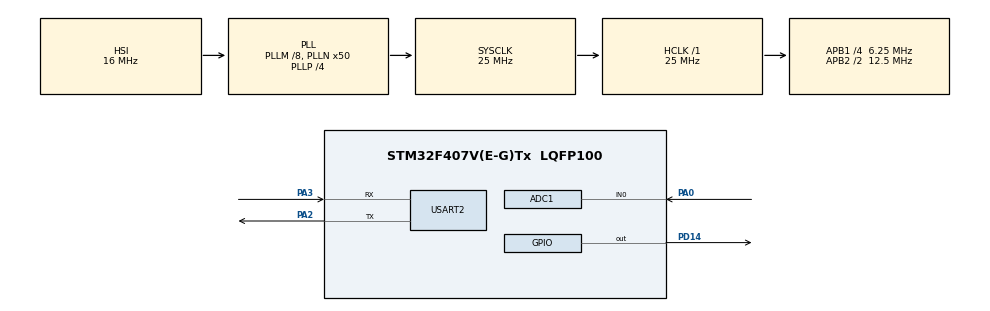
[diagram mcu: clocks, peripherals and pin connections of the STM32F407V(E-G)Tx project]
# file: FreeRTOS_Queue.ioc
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ADC1.Channel-0\#ChannelRegularConversion=ADC_CHANNEL_0
ADC1.NbrOfConversionFlag=1
ADC1.Rank-0\#ChannelRegularConversion=1
ADC1.SamplingTime-0\#ChannelRegularConversion=ADC_SAMPLETIME_3CYCLES
ADC1.master=1
FREERTOS.Tasks01=defaultTask,24,128,StartDefaultTask,Default,NULL,Dynamic,NULL,NULL
FREERTOS.configUSE_NEWLIB_REENTRANT=1
Mcu.Family=STM32F4
Mcu.Name=STM32F407V(E-G)Tx
Mcu.Package=LQFP100
NVIC.PriorityGroup=NVIC_PRIORITYGROUP_4
NVIC.TIM6_DAC_IRQn=true\:15\:0\:false\:false\:true\:false\:false\:true\:true
NVIC.TimeBase=TIM6_DAC_IRQn
NVIC.TimeBaseIP=TIM6
PA0-WKUP.Signal=ADCx_IN0
PA2.Mode=Asynchronous
PA2.Signal=USART2_TX
PA3.Mode=Asynchronous
PA3.Signal=USART2_RX
PD14.Signal=GPIO_Output
ProjectManager.HeapSize=0x200
ProjectManager.StackSize=0x400
ProjectManager.TargetToolchain=STM32CubeIDE
RCC.48MHZClocksFreq_Value=14285714.285714285
RCC.AHBFreq_Value=25000000
RCC.APB1CLKDivider=RCC_HCLK_DIV4
RCC.APB1Freq_Value=6250000
RCC.APB1TimFreq_Value=12500000
RCC.APB2CLKDivider=RCC_HCLK_DIV2
RCC.APB2Freq_Value=12500000
RCC.APB2TimFreq_Value=25000000
RCC.CortexFreq_Value=25000000
RCC.HCLKFreq_Value=25000000
RCC.HSE_VALUE=8000000
RCC.HSI_VALUE=16000000
RCC.LSE_VALUE=32768
RCC.PLLM=8
RCC.PLLN=50
RCC.PLLP=RCC_PLLP_DIV4
RCC.PLLQ=7
RCC.SYSCLKFreq_VALUE=25000000
RCC.SYSCLKSource=RCC_SYSCLKSOURCE_PLLCLK
RCC.VCOOutputFreq_Value=100000000
SH.ADCx_IN0.0=ADC1_IN0,IN0
USART2.VirtualMode=VM_ASYNC
VP_FREERTOS_VS_CMSIS_V2.Mode=CMSIS_V2
VP_SYS_VS_tim6.Mode=TIM6
board=STM32F407G-DISC1

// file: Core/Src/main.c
/* USER CODE BEGIN Header */
/**
  ******************************************************************************
  * @file           : main.c
  * @brief          : Main program body
  ******************************************************************************
  * @attention
  *
  * Copyright (c) 2026 STMicroelectronics.
  * All rights reserved.
  *
  * This software is licensed under terms that can be found in the LICENSE file
  * in the root directory of this software component.
  * If no LICENSE file comes with this software, it is provided AS-IS.
  *
  ******************************************************************************
  */
/* USER CODE END Header */
#include "main.h"
#include "cmsis_os.h"

/* USER CODE BEGIN Includes */
#include"queue.h"
#include<stdio.h>
#include<string.h>
/* USER CODE END Includes */

ADC_HandleTypeDef hadc1;

UART_HandleTypeDef huart2;

/* Definitions for defaultTask */
osThreadId_t defaultTaskHandle;
const osThreadAttr_t defaultTask_attributes = {
  .name = "defaultTask",
  .stack_size = 128 * 4,
  .priority = (osPriority_t) osPriorityNormal,
};
/* USER CODE BEGIN PV */

QueueHandle_t queHandle;

/* USER CODE END PV */

void SystemClock_Config(void);
static void MX_GPIO_Init(void);
static void MX_ADC1_Init(void);
static void MX_USART2_UART_Init(void);
void StartDefaultTask(void *argument);

/* USER CODE BEGIN 0 */

void vLEDBlinkgingTask(void *pvParam)
{
	TickType_t xLastWakeupTick =  xTaskGetTickCount();
	while(1)
	{
		HAL_GPIO_TogglePin(GPIOD, GPIO_PIN_14);
		vTaskDelayUntil(&xLastWakeupTick, 500 / portTICK_RATE_MS);
	}
	vTaskDelete(NULL);
}

void vADCReadingTask(void *pvParam)
{
	TickType_t xLastWakeupTick =  xTaskGetTickCount();
	while(1)
	{
		HAL_ADC_Start(&hadc1);
		HAL_ADC_PollForConversion(&hadc1, HAL_MAX_DELAY);
		uint32_t value =  HAL_ADC_GetValue(&hadc1);
		HAL_ADC_Stop(&hadc1);

		xQueueSend(queHandle, &value, portMAX_DELAY);

		vTaskDelayUntil(&xLastWakeupTick, 2000 / portTICK_RATE_MS);
	}
	vTaskDelete(NULL);
}

void vUARTSendingTask(void *pvParam)
{
	uint32_t value;
	char str[32];

	while(1)
	{
		xQueueReceive(queHandle, &value, portMAX_DELAY);

		sprintf(str, "ADC value = %lu\r\n", value);
		HAL_UART_Transmit(&huart2, (const uint8_t *)str, strlen((char *)str), HAL_MAX_DELAY);
	}
	vTaskDelete(NULL);
}

/* USER CODE END 0 */

int main(void)
{

  /* MCU Configuration--------------------------------------------------------*/

  /* Reset of all peripherals, Initializes the Flash interface and the Systick. */
  HAL_Init();

  /* Configure the system clock */
  SystemClock_Config();

  /* Initialize all configured peripherals */
  MX_GPIO_Init();
  MX_ADC1_Init();
  MX_USART2_UART_Init();

  /* Init scheduler */
  osKernelInitialize();

  /* USER CODE BEGIN RTOS_QUEUES */
  queHandle = xQueueCreate(5, sizeof(uint32_t));
  /* USER CODE END RTOS_QUEUES */

  /* Create the thread(s) */
  /* creation of defaultTask */
  defaultTaskHandle = osThreadNew(StartDefaultTask, NULL, &defaultTask_attributes);

  /* USER CODE BEGIN RTOS_THREADS */
  xTaskCreate(vLEDBlinkgingTask, "LED", configMINIMAL_STACK_SIZE, NULL, 2, NULL);
  xTaskCreate(vUARTSendingTask, "UART", configMINIMAL_STACK_SIZE, NULL, 3, NULL);
  xTaskCreate(vADCReadingTask, "ADC", configMINIMAL_STACK_SIZE, NULL, 4, NULL);
  /* USER CODE END RTOS_THREADS */

  /* Start scheduler */
  osKernelStart();

  /* We should never get here as control is now taken by the scheduler */

  /* Infinite loop */
  while (1)
  {

  }
}

void SystemClock_Config(void)
{
  RCC_OscInitTypeDef RCC_OscInitStruct = {0};
  RCC_ClkInitTypeDef RCC_ClkInitStruct = {0};

  /** Configure the main internal regulator output voltage
  */
  __HAL_RCC_PWR_CLK_ENABLE();
  __HAL_PWR_VOLTAGESCALING_CONFIG(PWR_REGULATOR_VOLTAGE_SCALE1);

  /** Initializes the RCC Oscillators according to the specified parameters
  * in the RCC_OscInitTypeDef structure.
  */
  RCC_OscInitStruct.OscillatorType = RCC_OSCILLATORTYPE_HSI;
  RCC_OscInitStruct.HSIState = RCC_HSI_ON;
  RCC_OscInitStruct.HSICalibrationValue = RCC_HSICALIBRATION_DEFAULT;
  RCC_OscInitStruct.PLL.PLLState = RCC_PLL_ON;
  RCC_OscInitStruct.PLL.PLLSource = RCC_PLLSOURCE_HSI;
  RCC_OscInitStruct.PLL.PLLM = 8;
  RCC_OscInitStruct.PLL.PLLN = 50;
  RCC_OscInitStruct.PLL.PLLP = RCC_PLLP_DIV4;
  RCC_OscInitStruct.PLL.PLLQ = 7;
  if (HAL_RCC_OscConfig(&RCC_OscInitStruct) != HAL_OK)
  {
    Error_Handler();
  }

  /** Initializes the CPU, AHB and APB buses clocks
  */
  RCC_ClkInitStruct.ClockType = RCC_CLOCKTYPE_HCLK|RCC_CLOCKTYPE_SYSCLK
                              |RCC_CLOCKTYPE_PCLK1|RCC_CLOCKTYPE_PCLK2;
  RCC_ClkInitStruct.SYSCLKSource = RCC_SYSCLKSOURCE_PLLCLK;
  RCC_ClkInitStruct.AHBCLKDivider = RCC_SYSCLK_DIV1;
  RCC_ClkInitStruct.APB1CLKDivider = RCC_HCLK_DIV4;
  RCC_ClkInitStruct.APB2CLKDivider = RCC_HCLK_DIV2;

  if (HAL_RCC_ClockConfig(&RCC_ClkInitStruct, FLASH_LATENCY_0) != HAL_OK)
  {
    Error_Handler();
  }
}

static void MX_ADC1_Init(void)
{

  ADC_ChannelConfTypeDef sConfig = {0};

  /** Configure the global features of the ADC (Clock, Resolution, Data Alignment and number of conversion)
  */
  hadc1.Instance = ADC1;
  hadc1.Init.ClockPrescaler = ADC_CLOCK_SYNC_PCLK_DIV2;
  hadc1.Init.Resolution = ADC_RESOLUTION_12B;
  hadc1.Init.ScanConvMode = DISABLE;
  hadc1.Init.ContinuousConvMode = DISABLE;
  hadc1.Init.DiscontinuousConvMode = DISABLE;
  hadc1.Init.ExternalTrigConvEdge = ADC_EXTERNALTRIGCONVEDGE_NONE;
  hadc1.Init.ExternalTrigConv = ADC_SOFTWARE_START;
  hadc1.Init.DataAlign = ADC_DATAALIGN_RIGHT;
  hadc1.Init.NbrOfConversion = 1;
  hadc1.Init.DMAContinuousRequests = DISABLE;
  hadc1.Init.EOCSelection = ADC_EOC_SINGLE_CONV;
  if (HAL_ADC_Init(&hadc1) != HAL_OK)
  {
    Error_Handler();
  }

  /** Configure for the selected ADC regular channel its corresponding rank in the sequencer and its sample time.
  */
  sConfig.Channel = ADC_CHANNEL_0;
  sConfig.Rank = 1;
  sConfig.SamplingTime = ADC_SAMPLETIME_3CYCLES;
  if (HAL_ADC_ConfigChannel(&hadc1, &sConfig) != HAL_OK)
  {
    Error_Handler();
  }

}

static void MX_USART2_UART_Init(void)
{

  huart2.Instance = USART2;
  huart2.Init.BaudRate = 115200;
  huart2.Init.WordLength = UART_WORDLENGTH_8B;
  huart2.Init.StopBits = UART_STOPBITS_1;
  huart2.Init.Parity = UART_PARITY_NONE;
  huart2.Init.Mode = UART_MODE_TX_RX;
  huart2.Init.HwFlowCtl = UART_HWCONTROL_NONE;
  huart2.Init.OverSampling = UART_OVERSAMPLING_16;
  if (HAL_UART_Init(&huart2) != HAL_OK)
  {
    Error_Handler();
  }

}

static void MX_GPIO_Init(void)
{
  GPIO_InitTypeDef GPIO_InitStruct = {0};

  /* GPIO Ports Clock Enable */
  __HAL_RCC_GPIOA_CLK_ENABLE();
  __HAL_RCC_GPIOD_CLK_ENABLE();

  /*Configure GPIO pin Output Level */
  HAL_GPIO_WritePin(GPIOD, GPIO_PIN_14, GPIO_PIN_RESET);

  /*Configure GPIO pin : PD14 */
  GPIO_InitStruct.Pin = GPIO_PIN_14;
  GPIO_InitStruct.Mode = GPIO_MODE_OUTPUT_PP;
  GPIO_InitStruct.Pull = GPIO_NOPULL;
  GPIO_InitStruct.Speed = GPIO_SPEED_FREQ_LOW;
  HAL_GPIO_Init(GPIOD, &GPIO_InitStruct);

}

void StartDefaultTask(void *argument)
{
  for(;;)
  {
    osDelay(1);
  }
}

void HAL_TIM_PeriodElapsedCallback(TIM_HandleTypeDef *htim)
{
  if (htim->Instance == TIM6)
  {
    HAL_IncTick();
  }
}

void Error_Handler(void)
{
  __disable_irq();
  while (1)
  {
  }
}
